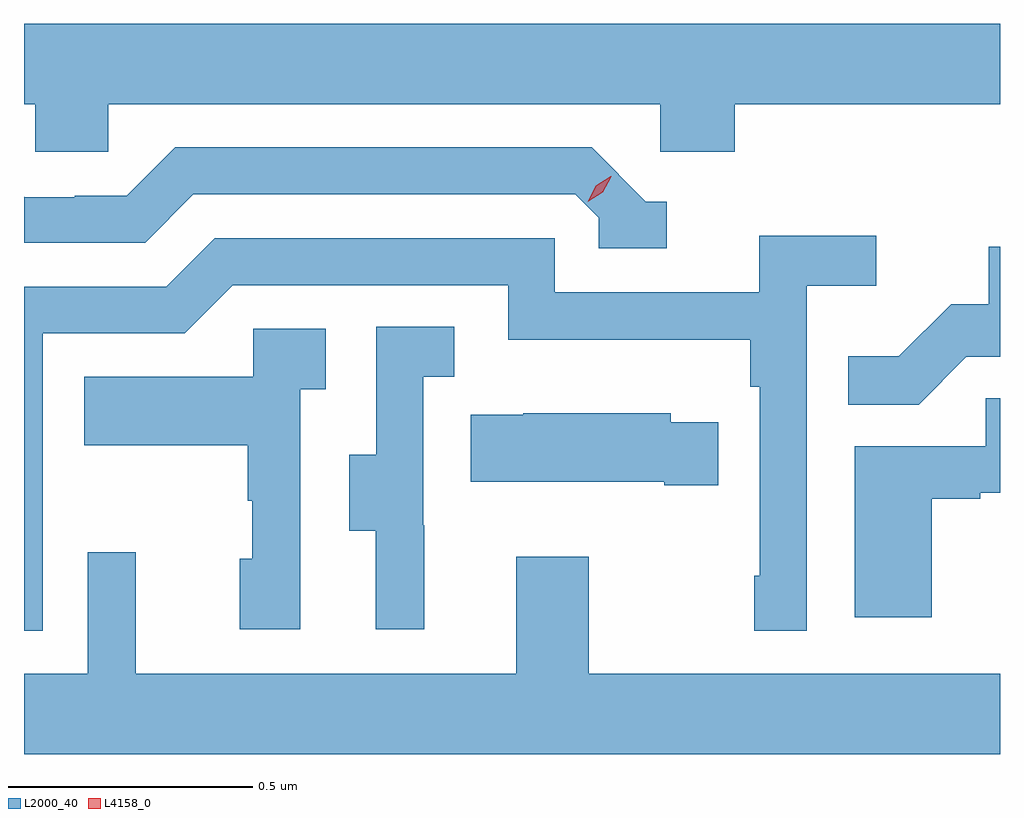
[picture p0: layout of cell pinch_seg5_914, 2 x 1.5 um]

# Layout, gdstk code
import gdstk
lib = gdstk.Library(unit=1e-6, precision=1e-09)
def P(c, l, *ps):  # polygons
    for p in ps: c.add(gdstk.Polygon(p, *l))
L2000_40 = (2000, 40)
L4158_0 = (4158, 0)

pinch_seg5_914 = lib.new_cell('pinch_seg5_914')
P(pinch_seg5_914, L2000_40, [(861.339,892.724),(862.47,892.724),(862.47,892.626),(862.622,892.626),(862.622,892.724),(863.166,892.724),(863.166,892.888),(861.166,892.888),(861.166,892.724),(861.189,892.724),(861.189,892.626),(861.339,892.626)],
  [(862.483,892.524),(862.44,892.524),(862.329,892.635),(861.476,892.635),(861.377,892.536),(861.27,892.536),(861.27,892.533),(861.167,892.533),(861.166,892.534),(861.166,892.44),(861.414,892.44),(861.513,892.539),(862.296,892.539),(862.344,892.491),(862.344,892.428),(862.483,892.428)],
  [(861.204,892.254),(861.495,892.254),(861.594,892.353),(862.158,892.353),(862.158,892.241),(862.654,892.241),(862.654,892.145),(862.674,892.145),(862.674,891.757),(862.662,891.757),(862.662,891.645),(862.77,891.645),(862.77,892.352),(862.912,892.352),(862.912,892.454),(862.673,892.454),(862.673,892.338),(862.254,892.338),(862.254,892.449),(861.557,892.449),(861.458,892.35),(861.166,892.35),(861.166,891.645),(861.204,891.645)],
  [(863.097,892.206),(863.166,892.206),(863.166,892.431),(863.143,892.431),(863.143,892.314),(863.066,892.314),(862.959,892.207),(862.855,892.207),(862.855,892.108),(862.999,892.108)],
  [(861.986,891.861),(861.984,891.861),(861.984,892.165),(862.048,892.165),(862.048,892.268),(861.888,892.268),(861.888,892.005),(861.833,892.005),(861.833,891.85),(861.887,891.85),(861.887,891.648),(861.986,891.648)],
  [(861.732,892.139),(861.784,892.139),(861.784,892.263),(861.636,892.263),(861.636,892.165),(861.289,892.165),(861.289,892.025),(861.624,892.025),(861.624,891.911),(861.634,891.911),(861.634,891.792),(861.608,891.792),(861.608,891.648),(861.732,891.648)],
  [(863.026,891.915),(863.126,891.915),(863.126,891.927),(863.166,891.927),(863.166,892.121),(863.137,892.121),(863.137,892.023),(862.868,892.023),(862.868,891.672),(863.026,891.672)],
  [(862.589,892.072),(862.491,892.072),(862.491,892.09),(862.189,892.09),(862.189,892.087),(862.081,892.087),(862.081,891.95),(862.478,891.95),(862.478,891.943),(862.589,891.943)],
  [(863.166,891.556),(862.323,891.556),(862.323,891.796),(862.175,891.796),(862.175,891.556),(861.395,891.556),(861.395,891.805),(861.297,891.805),(861.297,891.556),(861.166,891.556),(861.166,891.392),(863.166,891.392)])
P(pinch_seg5_914, L4158_0, [(862.321,892.524),(862.321,892.524),(862.338,892.557),(862.368,892.576),(862.369,892.576),(862.369,892.575),(862.352,892.543),(862.321,892.524)])

lib.write_gds('pinch_seg5_914.gds')
